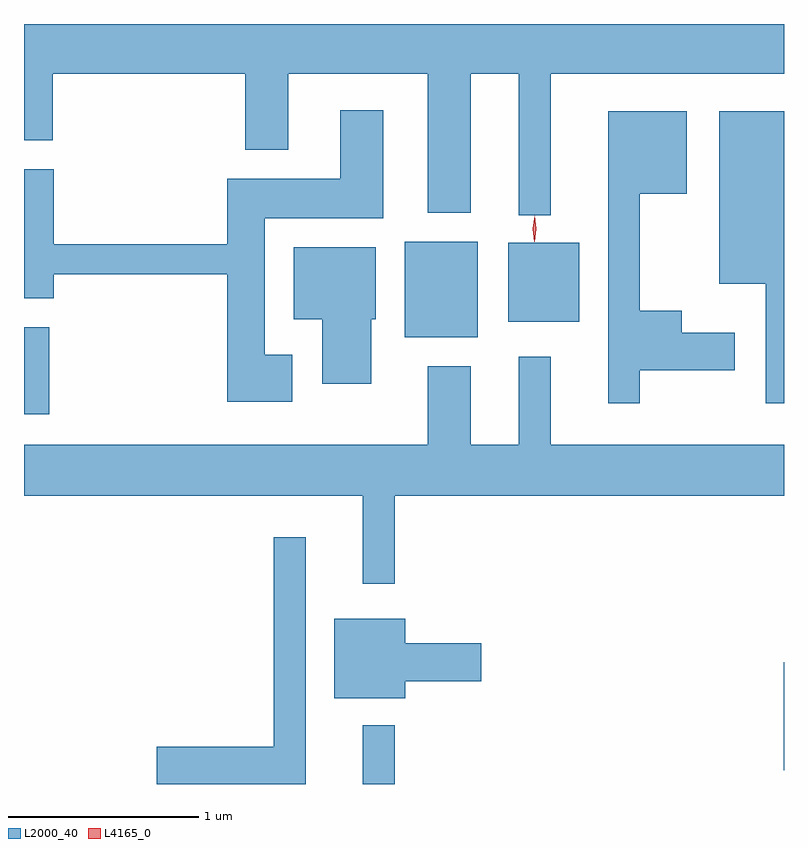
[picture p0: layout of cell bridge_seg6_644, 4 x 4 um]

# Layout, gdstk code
import gdstk
lib = gdstk.Library(unit=1e-6, precision=1e-09)
def R(c, l, rs):  # rectangles x0, y0, x1, y1
    for r in rs: c.add(gdstk.rectangle(r[:2], r[2:], *l))
def P(c, l, *ps):  # polygons
    for p in ps: c.add(gdstk.Polygon(p, *l))
L2000_40 = (2000, 40)
L4165_0 = (4165, 0)

bridge_seg6_644 = lib.new_cell('bridge_seg6_644')
R(bridge_seg6_644, L2000_40, [(240.061,1652.859,240.229,1653.168), (242.276,1652.931,242.277,1653.499), (238.277,1654.806,238.409,1655.264), (240.281,1655.211,240.664,1655.714), (240.826,1655.291,241.199,1655.709)])
P(bridge_seg6_644, L2000_40, [(241.049,1656.596),(242.277,1656.596),(242.277,1656.859),(238.277,1656.859),(238.277,1656.246),(238.429,1656.246),(238.429,1656.596),(239.441,1656.596),(239.441,1656.196),(239.669,1656.196),(239.669,1656.596),(240.401,1656.596),(240.401,1655.866),(240.629,1655.866),(240.629,1656.596),(240.881,1656.596),(240.881,1655.853),(241.049,1655.853)],
  [(239.689,1655.119),(239.544,1655.119),(239.544,1655.836),(240.169,1655.836),(240.169,1656.404),(239.941,1656.404),(239.941,1656.044),(239.346,1656.044),(239.346,1655.699),(238.434,1655.699),(238.434,1656.094),(238.277,1656.094),(238.277,1655.416),(238.434,1655.416),(238.434,1655.541),(239.346,1655.541),(239.346,1654.871),(239.689,1654.871)],
  [(241.519,1655.036),(242.019,1655.036),(242.019,1655.234),(241.739,1655.234),(241.739,1655.349),(241.519,1655.349),(241.519,1655.966),(241.764,1655.966),(241.764,1656.399),(241.351,1656.399),(241.351,1654.863),(241.519,1654.863)],
  [(242.277,1656.399),(241.936,1656.399),(241.936,1655.491),(242.181,1655.491),(242.181,1654.863),(242.277,1654.863)],
  [(240.104,1655.306),(240.129,1655.306),(240.129,1655.684),(239.696,1655.684),(239.696,1655.306),(239.846,1655.306),(239.846,1654.966),(240.104,1654.966)],
  [(240.229,1654.376),(242.277,1654.376),(242.277,1654.644),(241.049,1654.644),(241.049,1655.108),(240.881,1655.108),(240.881,1654.644),(240.629,1654.644),(240.629,1655.059),(240.401,1655.059),(240.401,1654.644),(238.277,1654.644),(238.277,1654.376),(240.061,1654.376),(240.061,1653.913),(240.229,1653.913)],
  [(239.759,1654.158),(239.591,1654.158),(239.591,1653.054),(238.976,1653.054),(238.976,1652.859),(239.759,1652.859)],
  [(240.284,1653.401),(240.684,1653.401),(240.684,1653.599),(240.284,1653.599),(240.284,1653.729),(239.911,1653.729),(239.911,1653.311),(240.284,1653.311)])
P(bridge_seg6_644, L4165_0, [(240.963,1655.718),(240.963,1655.719),(240.954,1655.783),(240.964,1655.846),(240.965,1655.847),(240.965,1655.846),(240.974,1655.782),(240.964,1655.719)],
  [(240.963,1655.714),(240.954,1655.782),(240.964,1655.85),(240.965,1655.85),(240.965,1655.85),(240.974,1655.782),(240.964,1655.714),(240.964,1655.714)])

lib.write_gds('bridge_seg6_644.gds')
